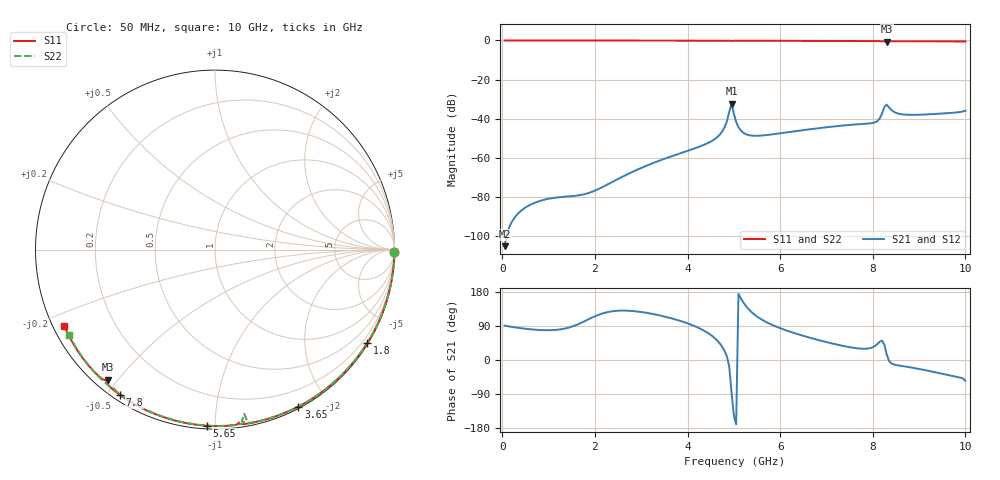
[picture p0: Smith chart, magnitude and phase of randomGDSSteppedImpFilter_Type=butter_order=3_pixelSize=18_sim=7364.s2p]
! freq	dB(S11)	phase(S11)	dB(S12)	phase(S12)
!  dB(S21)	phase(S21)	dB(S22)	phase(S22)
!S-par simulation data
#  GHz  S  DB  R 50
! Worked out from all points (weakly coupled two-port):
!   200 points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, 50 MHz to 10 GHz, reference 50 ohm
!   highest |S21| = -32.29 dB at 4.95 GHz (marker M1); lowest = -105.2 dB at 50 MHz (marker M2)
!   lowest |S11| = -0.6 dB at 8.3 GHz (marker M3), VSWR 31.26, Z = 1.95 - j23.6 ohm
!   |S11| at or under -10 dB: nowhere
!   |S22| runs from -0.6 to 0.0 dB; largest |S21 - S12| = 0
!   S11 on the Smith chart (normalised r, x): 50 MHz: open; 1.8 GHz: 0.03, -3.55; 3.65 GHz: 0.02, -1.66; 5.65 GHz: 0.02, -0.96; 7.8 GHz: 0.02, -0.54; 10 GHz: 0.03, -0.24
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0.05  -0.00 -0.9  -105.16 90.6  -105.16 90.6  -0.00 -0.9
1.75  -0.04 -30.6  -78.72 100.8  -78.72 100.8  -0.04 -29.8
1.8  -0.04 -31.4  -78.43 103.8  -78.43 103.8  -0.04 -30.6
3.4  -0.08 -58.0  -61.39 117.6  -61.39 117.6  -0.08 -56.6
3.65  -0.08 -62.0  -59.26 110.0  -59.26 110.0  -0.08 -60.5
4.35  -0.10 -73.1  -53.40 77.8  -53.40 77.8  -0.10 -71.4
4.65  -0.11 -77.7  -49.25 50.1  -49.25 50.1  -0.12 -76.1
4.8  -0.12 -80.1  -44.39 24.0  -44.39 24.0  -0.14 -78.7
4.85  -0.13 -80.9  -41.32 9.3  -41.32 9.3  -0.17 -79.8
4.95  -0.24 -82.2  -32.29 -85.3  -32.29 -85.3  -0.63 -79.9
5.05  -0.14 -83.5  -41.66 -170.0  -41.66 -170.0  -0.18 -80.7
5.15  -0.14 -85.1  -46.00 162.7  -46.00 162.7  -0.15 -82.6
5.25  -0.14 -86.6  -47.82 144.2  -47.82 144.2  -0.14 -84.2
5.65  -0.16 -92.6  -48.49 103.4  -48.49 103.4  -0.15 -90.2
6.7  -0.21 -107.7  -45.23 56.8  -45.23 56.8  -0.21 -105.1
7.8  -0.29 -123.2  -42.65 29.6  -42.65 29.6  -0.29 -120.2
8.1  -0.34 -127.6  -41.22 42.2  -41.22 42.2  -0.32 -124.3
8.3  -0.56 -129.5  -32.82 15.2  -32.82 15.2  -0.38 -126.5
8.35  -0.46 -129.8  -34.12 -2.0  -34.12 -2.0  -0.35 -127.2
8.5  -0.38 -132.1  -37.00 -13.3  -37.00 -13.3  -0.34 -129.4
8.75  -0.39 -135.7  -38.00 -18.1  -38.00 -18.1  -0.36 -132.8
10  -0.52 -153.2  -35.97 -54.9  -35.97 -54.9  -0.53 -149.8
